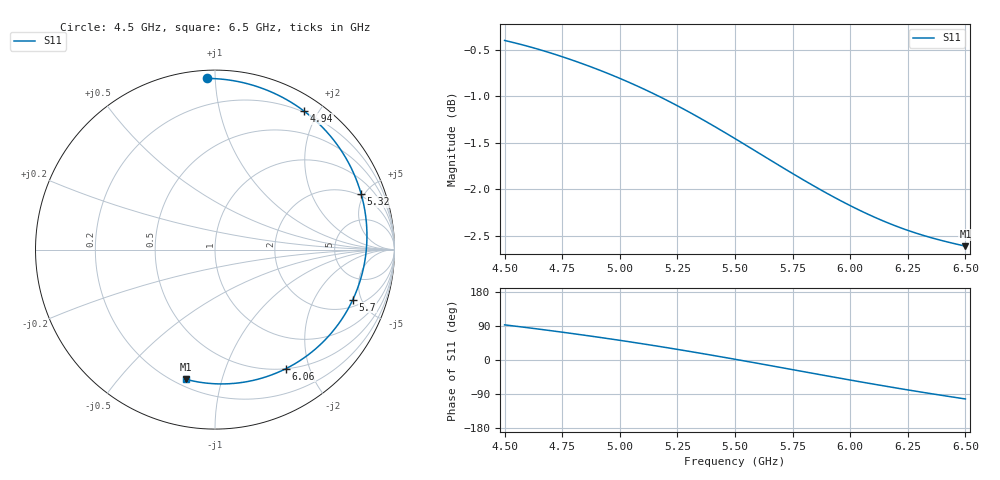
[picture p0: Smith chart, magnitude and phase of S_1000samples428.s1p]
! TOUCHSTONE file generated by CST MICROWAVE STUDIO
! Date and time: Fri Oct 28 03:39:58 2022
! Project name: L.cst
! Parameters = {Di=1.27; Epsilon_r=1.56; InnerDiameter=1.27; Length=2; Lf=10; Lg=60; OuterConductorThickness=0.2921; OuterDiameter=3.6; Wf=3; Wp=41.2; de=1.5; df=6.8; g=0.8; gx=3.16318; gy=3.51113; h=2.34; hf=1.524; px=10.6814; py=9.39872; w=9.7; wx=7.51823; wy=5.88759}
! Header version: 2018
! Port assignment regex: !\s*Touchstone port\s*([0-9]+)\s*=\s*(CST MWS port|CST DS port)\s*([0-9]+|Zmin|Zmax)\s*\(\"(.*)\"\)(\s*mode\s*([0-9]+))?.*
! Touchstone port assignment:
! Touchstone port 1 = CST MWS port 1 ("")
# GHz S DB R 50
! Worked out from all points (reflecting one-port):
!   101 points, 4.5 GHz to 6.5 GHz, reference 50 ohm
!   lowest |S11| = -2.6 dB at 6.5 GHz (marker M1), VSWR 6.71, Z = 12 - j38.5 ohm
!   phase of S11 starts at 93 deg and turns -196 deg over the sweep
!   S11 on the Smith chart (normalised r, x): 4.5 GHz: 0.04, +0.95; 4.94 GHz: 0.19, +1.82; 5.32 GHz: 1.84, +4.74; 5.7 GHz: 2.53, -4.24; 6.06 GHz: 0.50, -1.64; 6.5 GHz: 0.24, -0.77
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4.5  -0.40 92.7
4.58  -0.45 86.8
4.64  -0.49 82.2
4.76  -0.58 72.6
4.86  -0.67 64.2
4.94  -0.75 57.3
5  -0.81 51.9
5.06  -0.87 46.4
5.14  -0.97 38.8
5.2  -1.04 33.0
5.26  -1.12 27.0
5.32  -1.20 20.9
5.42  -1.34 10.5
5.5  -1.46 1.9
5.54  -1.52 -2.4
5.6  -1.61 -8.9
5.7  -1.76 -19.9
5.76  -1.84 -26.6
5.82  -1.93 -33.2
5.88  -2.02 -39.8
5.94  -2.10 -46.3
6  -2.17 -52.8
6.06  -2.25 -59.3
6.16  -2.36 -69.7
6.26  -2.45 -79.9
6.32  -2.50 -85.8
6.38  -2.54 -91.6
6.5  -2.61 -102.8
